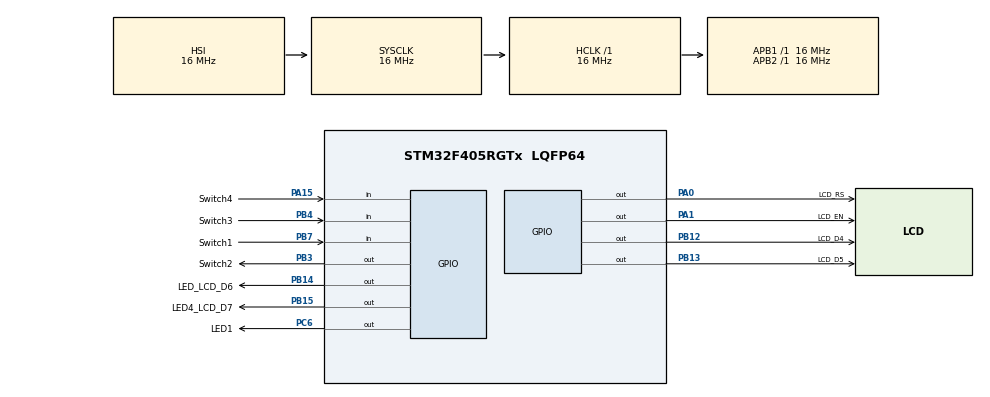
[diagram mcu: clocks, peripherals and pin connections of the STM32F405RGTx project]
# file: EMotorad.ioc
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Mcu.Family=STM32F4
Mcu.Name=STM32F405RGTx
Mcu.Package=LQFP64
NVIC.PriorityGroup=NVIC_PRIORITYGROUP_4
NVIC.TIM6_DAC_IRQn=true\:15\:0\:false\:false\:true\:false\:true\:true
NVIC.TimeBase=TIM6_DAC_IRQn
NVIC.TimeBaseIP=TIM6
PA0-WKUP.GPIO_Label=LCD_RS
PA0-WKUP.Signal=GPIO_Output
PA1.GPIO_Label=LCD_EN
PA1.Signal=GPIO_Output
PA15.GPIO_Label=Switch4
PA15.Signal=GPIO_Input
PB12.GPIO_Label=LCD_D4
PB12.Signal=GPIO_Output
PB13.GPIO_Label=LCD_D5
PB13.Signal=GPIO_Output
PB14.GPIO_Label=LED_LCD_D6
PB14.Signal=GPIO_Output
PB15.GPIO_Label=LED4_LCD_D7
PB15.Signal=GPIO_Output
PB3.GPIO_Label=Switch2
PB3.Signal=GPIO_Output
PB4.GPIO_Label=Switch3
PB4.Signal=GPIO_Input
PB7.GPIO_Label=Switch1
PB7.Signal=GPIO_Input
PC6.GPIO_Label=LED1
PC6.Signal=GPIO_Output
ProjectManager.HeapSize=0x200
ProjectManager.StackSize=0x400
ProjectManager.TargetToolchain=STM32CubeIDE
RCC.AHBFreq_Value=16000000
RCC.APB1Freq_Value=16000000
RCC.APB2Freq_Value=16000000
RCC.CortexFreq_Value=16000000
RCC.HSE_VALUE=25000000
RCC.HSI_VALUE=16000000
RCC.LSE_VALUE=32768
RCC.SYSCLKFreq_VALUE=16000000
RCC.VCOOutputFreq_Value=192000000
VP_SYS_VS_tim6.Mode=TIM6
board=custom

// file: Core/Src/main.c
/* USER CODE BEGIN Header */
/**
  ******************************************************************************
  * @file           : main.c
  * @brief          : Main program body
  ******************************************************************************
  * @attention
  *
  * Copyright (c) 2024 STMicroelectronics.
  * All rights reserved.
  *
  * This software is licensed under terms that can be found in the LICENSE file
  * in the root directory of this software component.
  * If no LICENSE file comes with this software, it is provided AS-IS.
  *
  ******************************************************************************
  */
/* USER CODE END Header */
#include "main.h"
#include "FreeRTOS.h"
#include "task.h"
#include "semphr.h"

/* USER CODE BEGIN Includes */
// Define LCD Pins
#define LCD_RS_GPIO_Port GPIOA
#define LCD_RS_Pin GPIO_PIN_0

#define LCD_EN_GPIO_Port GPIOA
#define LCD_EN_Pin GPIO_PIN_1

#define LCD_D4_GPIO_Port GPIOB
#define LCD_D4_Pin GPIO_PIN_12

#define LCD_D5_GPIO_Port GPIOB
#define LCD_D5_Pin GPIO_PIN_13

#define LCD_D6_GPIO_Port GPIOB
#define LCD_D6_Pin GPIO_PIN_14

#define LCD_D7_GPIO_Port GPIOB
#define LCD_D7_Pin GPIO_PIN_15

// Define delay for LCD (HAL_Delay uses ms)
#define LCD_DELAY HAL_Delay(5)

#define DEBOUNCE_DELAY 50
// Function Prototypes.
void lcd_enable(void);
void lcd_send_nibble(uint8_t nibble);
void lcd_send(uint8_t data, uint8_t rs);
void lcd_send_command(uint8_t command);
void lcd_send_data(uint8_t data);
void lcd_init(void);
void lcd_clear(void);
void lcd_set_cursor(uint8_t row, uint8_t col);
void lcd_send_string(char *str);

/* USER CODE END Includes */

/* USER CODE BEGIN PV */
    // Semaphores
  SemaphoreHandle_t buttonSemaphore;
  SemaphoreHandle_t lcdMutex;

  // Shared Variables
  volatile uint8_t button1_state = 0;
  volatile uint8_t button2_state = 0;
  volatile uint8_t led_red_state = 0;
  volatile uint8_t led_green_state = 0;

  // Task Prototypes
  void vTaskButtonRead(void *pvParameters);
  void vTaskLEDControl(void *pvParameters);
  void vTaskLCDUpdate(void *pvParameters);

/* USER CODE END PV */

void SystemClock_Config(void);
static void MX_GPIO_Init(void);
/* USER CODE BEGIN PFP */
static void task1_handler(void* parameters);
static void task2_handler(void* parameters);
/* USER CODE END PFP */

/* USER CODE BEGIN 0 */
// Send Enable Pulse to latch the data/command
void lcd_enable(void) {
    HAL_GPIO_WritePin(LCD_EN_GPIO_Port, LCD_EN_Pin, GPIO_PIN_SET); // EN High
    LCD_DELAY;
    HAL_GPIO_WritePin(LCD_EN_GPIO_Port, LCD_EN_Pin, GPIO_PIN_RESET); // EN Low
    LCD_DELAY;
}

// Send 4 bits to the LCD
void lcd_send_nibble(uint8_t nibble) {
    HAL_GPIO_WritePin(LCD_D4_GPIO_Port, LCD_D4_Pin, (nibble >> 0) & 0x01);
    HAL_GPIO_WritePin(LCD_D5_GPIO_Port, LCD_D5_Pin, (nibble >> 1) & 0x01);
    HAL_GPIO_WritePin(LCD_D6_GPIO_Port, LCD_D6_Pin, (nibble >> 2) & 0x01);
    HAL_GPIO_WritePin(LCD_D7_GPIO_Port, LCD_D7_Pin, (nibble >> 3) & 0x01);
    lcd_enable();
}

// Send Command or Data (RS low for command, RS high for data)
void lcd_send(uint8_t data, uint8_t rs) {
    HAL_GPIO_WritePin(LCD_RS_GPIO_Port, LCD_RS_Pin, rs); // Set RS

    // Send upper nibble
    lcd_send_nibble(data >> 4);
    // Send lower nibble
    lcd_send_nibble(data & 0x0F);
}

// Send Command
void lcd_send_command(uint8_t command) {
    lcd_send(command, 0); // RS = 0 for command
}

// Send Data
void lcd_send_data(uint8_t data) {
    lcd_send(data, 1); // RS = 1 for data
}

void lcd_init(void) {
	  HAL_Delay(50);

	  // Initialize LCD in 4-bit mode
	     lcd_send_nibble(0x03); // Send 0x03 three times (reset sequence)
	     HAL_Delay(5);
	     lcd_send_nibble(0x03);
	     HAL_Delay(1);
	     lcd_send_nibble(0x03);
	     lcd_send_nibble(0x02); // Set to 4-bit mode

	     // Now configure LCD
	     lcd_send_command(0x28); // 4-bit mode, 2 lines, 5x7 format
	     HAL_Delay(1);
	     lcd_send_command(0x0C); // Display ON, cursor OFF
	     HAL_Delay(1);
	     lcd_send_command(0x01); // Clear display
	     HAL_Delay(2);
	     lcd_send_command(0x06); // Entry mode, auto-increment cursor
	     HAL_Delay(1);
}

// Clear LCD display
void lcd_clear(void) {
    lcd_send_command(0x01);  // Clear display
    HAL_Delay(2);            // Wait for the clear operation
}

// Set cursor position (row: 0 or 1, col: 0-15)
void lcd_set_cursor(uint8_t row, uint8_t col) {
    uint8_t address = (row == 0) ? col : (0x40 + col);
    lcd_send_command(0x80 | address);  // Set DDRAM address command
}

// Send string to LCD
void lcd_send_string(char *str) {
    while (*str) {
        lcd_send_data(*str++);
    }
}

/* USER CODE END 0 */

int main(void)
{
  /* USER CODE BEGIN 1 */
//   TaskHandle_t task1_handle;
//   TaskHandle_t task2_handle;
//
//   BaseType_t store_status;
  /* USER CODE END 1 */

  /* MCU Configuration--------------------------------------------------------*/

  /* Reset of all peripherals, Initializes the Flash interface and the Systick. */
  HAL_Init();

  /* Configure the system clock */
  SystemClock_Config();

  /* Initialize all configured peripherals */
  MX_GPIO_Init();
  /* USER CODE BEGIN 2 */

  lcd_init();
   /* Semaphore Creation */
  buttonSemaphore = xSemaphoreCreateBinary();
  lcdMutex = xSemaphoreCreateMutex();

  /* Create the tasks */
  xTaskCreate(vTaskButtonRead, "ButtonRead", 128, NULL, 1, NULL);
  xTaskCreate(vTaskLEDControl, "LEDControl", 128, NULL, 1, NULL);
  xTaskCreate(vTaskLCDUpdate,"LCDUpdate",128,NULL,1,NULL);

   /* Start the scheduler */
  vTaskStartScheduler();

  /* USER CODE END 2 */

  /* Infinite loop */
  while (1)
  {
	  // LED TURN ON
//   HAL_GPIO_WritePin(GPIOC,GPIO_PIN_6,GPIO_PIN_SET); //PC6 - HIGH -TURN ON
//   HAL_Delay(500);
//
//   HAL_GPIO_WritePin(GPIOB,GPIO_PIN_13,GPIO_PIN_SET); //PB13 - HIGH -TURN ON
//   HAL_Delay(500);
//
//   HAL_GPIO_WritePin(GPIOB,GPIO_PIN_14,GPIO_PIN_SET); //PB14 - HIGH -TURN ON
//   HAL_Delay(500);
//
//   HAL_GPIO_WritePin(GPIOB,GPIO_PIN_15,GPIO_PIN_SET); //PB15- HIGH -TURN ON
//   HAL_Delay(500);
//
//   // LED TURN OFF
//   HAL_GPIO_WritePin(GPIOC,GPIO_PIN_6,GPIO_PIN_RESET);// PC6 - LOW -TURN OFF
//   HAL_Delay(500);
//
//   HAL_GPIO_WritePin(GPIOB,GPIO_PIN_13,GPIO_PIN_RESET);// PB13 - LOW -TURN OFF
//   HAL_Delay(500);
//
//   HAL_GPIO_WritePin(GPIOB,GPIO_PIN_14,GPIO_PIN_RESET);// PB14 - LOW -TURN OFF
//   HAL_Delay(500);
//
//   HAL_GPIO_WritePin(GPIOB,GPIO_PIN_15,GPIO_PIN_RESET);// PB15 - LOW -TURN OFF
//   HAL_Delay(500);
//	  HAL_GPIO_TogglePin(GPIOB, GPIO_PIN_0);  // Assuming LED on PB0
//	  HAL_Delay(500);  // 500ms delay

  }
}

void SystemClock_Config(void)
{
  RCC_OscInitTypeDef RCC_OscInitStruct = {0};
  RCC_ClkInitTypeDef RCC_ClkInitStruct = {0};

  /** Configure the main internal regulator output voltage
  */
  __HAL_RCC_PWR_CLK_ENABLE();
  __HAL_PWR_VOLTAGESCALING_CONFIG(PWR_REGULATOR_VOLTAGE_SCALE1);

  /** Initializes the RCC Oscillators according to the specified parameters
  * in the RCC_OscInitTypeDef structure.
  */
  RCC_OscInitStruct.OscillatorType = RCC_OSCILLATORTYPE_HSI;
  RCC_OscInitStruct.HSIState = RCC_HSI_ON;
  RCC_OscInitStruct.HSICalibrationValue = RCC_HSICALIBRATION_DEFAULT;
  RCC_OscInitStruct.PLL.PLLState = RCC_PLL_NONE;
  if (HAL_RCC_OscConfig(&RCC_OscInitStruct) != HAL_OK)
  {
    Error_Handler();
  }

  /** Initializes the CPU, AHB and APB buses clocks
  */
  RCC_ClkInitStruct.ClockType = RCC_CLOCKTYPE_HCLK|RCC_CLOCKTYPE_SYSCLK
                              |RCC_CLOCKTYPE_PCLK1|RCC_CLOCKTYPE_PCLK2;
  RCC_ClkInitStruct.SYSCLKSource = RCC_SYSCLKSOURCE_HSI;
  RCC_ClkInitStruct.AHBCLKDivider = RCC_SYSCLK_DIV1;
  RCC_ClkInitStruct.APB1CLKDivider = RCC_HCLK_DIV1;
  RCC_ClkInitStruct.APB2CLKDivider = RCC_HCLK_DIV1;

  if (HAL_RCC_ClockConfig(&RCC_ClkInitStruct, FLASH_LATENCY_0) != HAL_OK)
  {
    Error_Handler();
  }
}

static void MX_GPIO_Init(void)
{
  GPIO_InitTypeDef GPIO_InitStruct = {0};

  /* GPIO Ports Clock Enable */
  __HAL_RCC_GPIOA_CLK_ENABLE();
  __HAL_RCC_GPIOB_CLK_ENABLE();
  __HAL_RCC_GPIOC_CLK_ENABLE();

  /*Configure GPIO pin Output Level */
  HAL_GPIO_WritePin(GPIOA, LCD_RS_Pin|LCD_EN_Pin, GPIO_PIN_RESET);

  /*Configure GPIO pin Output Level */
  HAL_GPIO_WritePin(GPIOB, LCD_D4_Pin|LCD_D5_Pin|LED_LCD_D6_Pin|LED4_LCD_D7_Pin
                          |Switch2_Pin, GPIO_PIN_RESET);

  /*Configure GPIO pin Output Level */
  HAL_GPIO_WritePin(LED1_GPIO_Port, LED1_Pin, GPIO_PIN_RESET);

  /*Configure GPIO pins : LCD_RS_Pin LCD_EN_Pin */
  GPIO_InitStruct.Pin = LCD_RS_Pin|LCD_EN_Pin;
  GPIO_InitStruct.Mode = GPIO_MODE_OUTPUT_PP;
  GPIO_InitStruct.Pull = GPIO_NOPULL;
  GPIO_InitStruct.Speed = GPIO_SPEED_FREQ_LOW;
  HAL_GPIO_Init(GPIOA, &GPIO_InitStruct);

  /*Configure GPIO pins : LCD_D4_Pin LCD_D5_Pin LED_LCD_D6_Pin LED4_LCD_D7_Pin
                           Switch2_Pin */
  GPIO_InitStruct.Pin = LCD_D4_Pin|LCD_D5_Pin|LED_LCD_D6_Pin|LED4_LCD_D7_Pin
                          |Switch2_Pin;
  GPIO_InitStruct.Mode = GPIO_MODE_OUTPUT_PP;
  GPIO_InitStruct.Pull = GPIO_NOPULL;
  GPIO_InitStruct.Speed = GPIO_SPEED_FREQ_LOW;
  HAL_GPIO_Init(GPIOB, &GPIO_InitStruct);

  /*Configure GPIO pin : LED1_Pin */
  GPIO_InitStruct.Pin = LED1_Pin;
  GPIO_InitStruct.Mode = GPIO_MODE_OUTPUT_PP;
  GPIO_InitStruct.Pull = GPIO_NOPULL;
  GPIO_InitStruct.Speed = GPIO_SPEED_FREQ_LOW;
  HAL_GPIO_Init(LED1_GPIO_Port, &GPIO_InitStruct);

  /*Configure GPIO pin : Switch4_Pin */
  GPIO_InitStruct.Pin = Switch4_Pin;
  GPIO_InitStruct.Mode = GPIO_MODE_INPUT;
  GPIO_InitStruct.Pull = GPIO_NOPULL;
  HAL_GPIO_Init(Switch4_GPIO_Port, &GPIO_InitStruct);

  /*Configure GPIO pins : Switch3_Pin Switch1_Pin */
  GPIO_InitStruct.Pin = Switch3_Pin|Switch1_Pin;
  GPIO_InitStruct.Mode = GPIO_MODE_INPUT;
  GPIO_InitStruct.Pull = GPIO_NOPULL;
  HAL_GPIO_Init(GPIOB, &GPIO_InitStruct);

}

/* USER CODE BEGIN 4 */
// Task 1: Button Read (100ms)
void vTaskButtonRead(void *pvParameters) {
    uint8_t last_button1_state = 0;
    uint8_t last_button2_state = 0;

    while (1) {
        // Read the current state of the buttons
        uint8_t current_button1_state = HAL_GPIO_ReadPin(GPIOA, GPIO_PIN_15);  // Button 1
        uint8_t current_button2_state = HAL_GPIO_ReadPin(GPIOB, GPIO_PIN_4);   // Button 2

        // Debouncing logic for Button 1
        if (current_button1_state != last_button1_state) {
            vTaskDelay(pdMS_TO_TICKS(DEBOUNCE_DELAY));  // Wait for debounce time
            current_button1_state = HAL_GPIO_ReadPin(GPIOA, GPIO_PIN_15);  // Read button again after delay
            if (current_button1_state != last_button1_state) {
                last_button1_state = current_button1_state;  // Update the last state

                // If button is pressed (assuming active-low logic)
                if (current_button1_state == GPIO_PIN_RESET) {
                    button1_state = 1;  // Update shared state variable
                    xSemaphoreGive(buttonSemaphore);  // Trigger LED control task
                } else {
                    button1_state = 0;  // Button released
                }
            }
        }

        // Debouncing logic for Button 2
        if (current_button2_state != last_button2_state) {
            vTaskDelay(pdMS_TO_TICKS(DEBOUNCE_DELAY));  // Wait for debounce time
            current_button2_state = HAL_GPIO_ReadPin(GPIOB, GPIO_PIN_4);  // Read button again after delay
            if (current_button2_state != last_button2_state) {
                last_button2_state = current_button2_state;  // Update the last state

                // If button is pressed (assuming active-low logic)
                if (current_button2_state == GPIO_PIN_RESET) {
                    button2_state = 1;  // Update shared state variable
                    xSemaphoreGive(buttonSemaphore);  // Trigger LED control task
                } else {
                    button2_state = 0;  // Button released
                }
            }
        }

        // Small delay to avoid CPU hogging
        vTaskDelay(pdMS_TO_TICKS(100));  // Check buttons every 100ms
    }
}

// Task 2: LED Control
void vTaskLEDControl(void *pvParameters) {
    while (1) {
        // Wait for semaphore from button read task
        if (xSemaphoreTake(buttonSemaphore, portMAX_DELAY) == pdTRUE) {

            // If both buttons are pressed, maintain the LED state
            if (button1_state == 1 && button2_state == 1) {
                // Both buttons pressed - Do nothing to keep LEDs in the same state
                continue;
            }

            // If button 1 is pressed (Red LED ON) - keep it ON until released
            if (button1_state == 1) {
                HAL_GPIO_WritePin(GPIOC, GPIO_PIN_6, GPIO_PIN_SET);   // Red LED ON (PC6)

                // Wait until button 1 is released before turning off
                while (button1_state == 1) {
                    vTaskDelay(pdMS_TO_TICKS(50)); // Poll every 50ms
                }
                HAL_GPIO_WritePin(GPIOC, GPIO_PIN_6, GPIO_PIN_RESET); // Red LED OFF when released
            }

            // If button 2 is pressed (Green LED ON) - keep it ON until released
            if (button2_state == 1) {
                HAL_GPIO_WritePin(GPIOB, GPIO_PIN_13, GPIO_PIN_SET);  // Green LED ON (PB13)

                // Wait until button 2 is released before turning off
                while (button2_state == 1) {
                    vTaskDelay(pdMS_TO_TICKS(50)); // Poll every 50ms
                }
                HAL_GPIO_WritePin(GPIOB, GPIO_PIN_13, GPIO_PIN_RESET); // Green LED OFF when released
            }
        }

        // If no buttons are pressed, start LED toggling
        if (button1_state == 0 && button2_state == 0) {
            // Toggle Red LED
            HAL_GPIO_TogglePin(GPIOC, GPIO_PIN_6);   // Toggle Red LED (PC6)
            vTaskDelay(pdMS_TO_TICKS(500));          // 500ms delay for Red LED

            // Check for button press before toggling Green LED
            if (button1_state == 1 || button2_state == 1) {
                continue;  // Exit toggling if any button is pressed
            }

            // Toggle Green LED
            HAL_GPIO_TogglePin(GPIOB, GPIO_PIN_13);  // Toggle Green LED (PB13)
            vTaskDelay(pdMS_TO_TICKS(500));          // 500ms delay for Green LED

            // Check for button press again
            if (button1_state == 1 || button2_state == 1) {
                continue;  // Exit toggling if any button is pressed
            }
        }
    }
}// Task 3: LCD Update

void vTaskLCDUpdate(void *pvParameters) {
    // Previous states to track changes
    uint8_t prev_button1_state = 0;
    uint8_t prev_button2_state = 0;
    uint8_t prev_led_red_state = 0;
    uint8_t prev_led_green_state = 0;

    while (1) {
        // Check if states have changed
        if (button1_state != prev_button1_state || button2_state != prev_button2_state ||
            led_red_state != prev_led_red_state || led_green_state != prev_led_green_state) {

            // Acquire mutex before updating LCD
            if (xSemaphoreTake(lcdMutex, portMAX_DELAY) == pdTRUE) {
                lcd_clear();  // Clear only if something changed
                lcd_set_cursor(0, 0);
                lcd_send_string("BT 1: ");
                lcd_send_string(button1_state ? "Pressed" : "Released");

                lcd_set_cursor(1, 0);
                lcd_send_string("BT 2: ");
                lcd_send_string(button2_state ? "Pressed" : "Released");

                xSemaphoreGive(lcdMutex);  // Release mutex
            }

            // Update previous states
            prev_button1_state = button1_state;
            prev_button2_state = button2_state;
            prev_led_red_state = led_red_state;
            prev_led_green_state = led_green_state;
        }

        // Add delay to avoid rapid updates
        vTaskDelay(100 / portTICK_PERIOD_MS);
    }
}

/* USER CODE END 4 */

void HAL_TIM_PeriodElapsedCallback(TIM_HandleTypeDef *htim)
{
  if (htim->Instance == TIM6) {
    HAL_IncTick();
  }
}

void Error_Handler(void)
{
  __disable_irq();
  while (1)
  {
  }
}
